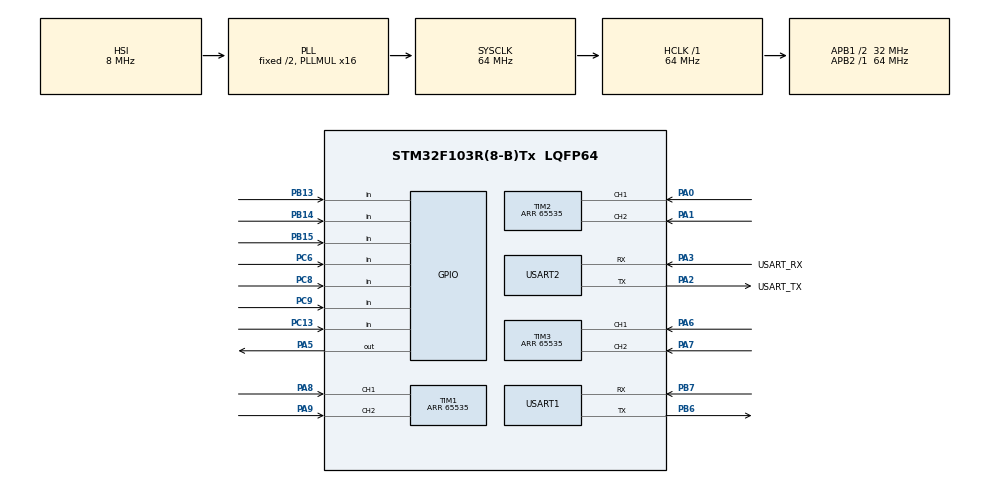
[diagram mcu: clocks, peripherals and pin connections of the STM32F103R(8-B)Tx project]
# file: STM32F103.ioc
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FREERTOS.Tasks01=defaultTask,0,128,StartDefaultTask,Default,NULL,Dynamic,NULL,NULL;send_data,3,128,Send_Data,Default,NULL,Dynamic,NULL,NULL
Mcu.Family=STM32F1
Mcu.Name=STM32F103R(8-B)Tx
Mcu.Package=LQFP64
NVIC.PriorityGroup=NVIC_PRIORITYGROUP_4
NVIC.TIM4_IRQn=true\:0\:0\:false\:false\:true\:false\:false
NVIC.TimeBase=TIM4_IRQn
NVIC.TimeBaseIP=TIM4
PA0-WKUP.GPIO_PuPd=GPIO_PULLUP
PA0-WKUP.Signal=S_TIM2_CH1_ETR
PA1.GPIO_PuPd=GPIO_PULLUP
PA1.Signal=S_TIM2_CH2
PA13.GPIO_Label=TMS
PA13.Mode=Serial_Wire
PA13.Signal=SYS_JTMS-SWDIO
PA14.GPIO_Label=TCK
PA14.Mode=Serial_Wire
PA14.Signal=SYS_JTCK-SWCLK
PA2.GPIO_Label=USART_TX
PA2.GPIO_Mode=GPIO_MODE_AF_PP
PA2.GPIO_PuPd=GPIO_NOPULL
PA2.GPIO_Speed=GPIO_SPEED_FREQ_LOW
PA2.Mode=Asynchronous
PA2.Signal=USART2_TX
PA3.GPIO_Label=USART_RX
PA3.GPIO_Mode=GPIO_MODE_AF_PP
PA3.GPIO_PuPd=GPIO_NOPULL
PA3.GPIO_Speed=GPIO_SPEED_FREQ_LOW
PA3.Mode=Asynchronous
PA3.Signal=USART2_RX
PA5.Signal=GPIO_Output
PA6.GPIO_PuPd=GPIO_PULLUP
PA6.Signal=S_TIM3_CH1
PA7.GPIO_PuPd=GPIO_PULLUP
PA7.Signal=S_TIM3_CH2
PA8.GPIO_PuPd=GPIO_PULLUP
PA8.Signal=S_TIM1_CH1
PA9.GPIO_PuPd=GPIO_PULLUP
PA9.Signal=S_TIM1_CH2
PB13.GPIO_PuPd=GPIO_PULLUP
PB13.Signal=GPIO_Input
PB14.GPIO_PuPd=GPIO_PULLUP
PB14.Signal=GPIO_Input
PB15.GPIO_PuPd=GPIO_PULLUP
PB15.Signal=GPIO_Input
PB3.GPIO_Label=SWO
PB3.Signal=SYS_JTDO-TRACESWO
PB6.Mode=Asynchronous
PB6.Signal=USART1_TX
PB7.Mode=Asynchronous
PB7.Signal=USART1_RX
PC13-TAMPER-RTC.Signal=GPIO_Input
PC14-OSC32_IN.Mode=LSE-External-Oscillator
PC14-OSC32_IN.Signal=RCC_OSC32_IN
PC15-OSC32_OUT.Mode=LSE-External-Oscillator
PC15-OSC32_OUT.Signal=RCC_OSC32_OUT
PC6.GPIO_PuPd=GPIO_PULLUP
PC6.Signal=GPIO_Input
PC8.GPIO_PuPd=GPIO_PULLUP
PC8.Signal=GPIO_Input
PC9.GPIO_PuPd=GPIO_PULLUP
PC9.Signal=GPIO_Input
PD0-OSC_IN.Mode=HSE-External-Clock-Source
PD0-OSC_IN.Signal=RCC_OSC_IN
PD1-OSC_OUT.Mode=HSE-External-Clock-Source
PD1-OSC_OUT.Signal=RCC_OSC_OUT
ProjectManager.HeapSize=0x200
ProjectManager.StackSize=0x400
ProjectManager.TargetToolchain=SW4STM32
RCC.AHBFreq_Value=64000000
RCC.APB1CLKDivider=RCC_HCLK_DIV2
RCC.APB1Freq_Value=32000000
RCC.APB1TimFreq_Value=64000000
RCC.APB2Freq_Value=64000000
RCC.APB2TimFreq_Value=64000000
RCC.HCLKFreq_Value=64000000
RCC.PLLMUL=RCC_PLL_MUL16
RCC.RTCClockSelection=RCC_RTCCLKSOURCE_LSE
RCC.SYSCLKFreq_VALUE=64000000
RCC.SYSCLKSource=RCC_SYSCLKSOURCE_PLLCLK
RCC.USBFreq_Value=64000000
SH.S_TIM1_CH1.0=TIM1_CH1,Encoder_Interface
SH.S_TIM1_CH2.0=TIM1_CH2,Encoder_Interface
SH.S_TIM2_CH1_ETR.0=TIM2_CH1,Encoder_Interface
SH.S_TIM2_CH2.0=TIM2_CH2,Encoder_Interface
SH.S_TIM3_CH1.0=TIM3_CH1,Encoder_Interface
SH.S_TIM3_CH2.0=TIM3_CH2,Encoder_Interface
TIM1.EncoderMode=TIM_ENCODERMODE_TI12
TIM1.IC1Filter=0
TIM1.IC2Filter=0
TIM1.Period=65535
TIM2.EncoderMode=TIM_ENCODERMODE_TI12
TIM2.Period=65535
TIM3.EncoderMode=TIM_ENCODERMODE_TI12
TIM3.Period=65535
USART1.VirtualMode=VM_ASYNC
USART2.VirtualMode=VM_ASYNC
VP_FREERTOS_VS_ENABLE.Mode=Enabled
VP_SYS_VS_tim4.Mode=TIM4
board=NUCLEO-F103RB

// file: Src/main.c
/**
  ******************************************************************************
  * @file           : main.c
  * @brief          : Main program body
  ******************************************************************************
  * This notice applies to any and all portions of this file
  * that are not between comment pairs USER CODE BEGIN and
  * USER CODE END. Other portions of this file, whether
  * inserted by the user or by software development tools
  * are owned by their respective copyright owners.
  *
  * Copyright (c) 2018 STMicroelectronics International N.V.
  * All rights reserved.
  *
  * Redistribution and use in source and binary forms, with or without
  * modification, are permitted, provided that the following conditions are met:
  *
  * 1. Redistribution of source code must retain the above copyright notice,
  *    this list of conditions and the following disclaimer.
  * 2. Redistributions in binary form must reproduce the above copyright notice,
  *    this list of conditions and the following disclaimer in the documentation
  *    and/or other materials provided with the distribution.
  * 3. Neither the name of STMicroelectronics nor the names of other
  *    contributors to this software may be used to endorse or promote products
  *    derived from this software without specific written permission.
  * 4. This software, including modifications and/or derivative works of this
  *    software, must execute solely and exclusively on microcontroller or
  *    microprocessor devices manufactured by or for STMicroelectronics.
  * 5. Redistribution and use of this software other than as permitted under
  *    this license is void and will automatically terminate your rights under
  *    this license.
  *
  * THIS SOFTWARE IS PROVIDED BY STMICROELECTRONICS AND CONTRIBUTORS "AS IS"
  * AND ANY EXPRESS, IMPLIED OR STATUTORY WARRANTIES, INCLUDING, BUT NOT
  * LIMITED TO, THE IMPLIED WARRANTIES OF MERCHANTABILITY, FITNESS FOR A
  * PARTICULAR PURPOSE AND NON-INFRINGEMENT OF THIRD PARTY INTELLECTUAL PROPERTY
  * RIGHTS ARE DISCLAIMED TO THE FULLEST EXTENT PERMITTED BY LAW. IN NO EVENT
  * SHALL STMICROELECTRONICS OR CONTRIBUTORS BE LIABLE FOR ANY DIRECT, INDIRECT,
  * INCIDENTAL, SPECIAL, EXEMPLARY, OR CONSEQUENTIAL DAMAGES (INCLUDING, BUT NOT
  * LIMITED TO, PROCUREMENT OF SUBSTITUTE GOODS OR SERVICES; LOSS OF USE, DATA,
  * OR PROFITS; OR BUSINESS INTERRUPTION) HOWEVER CAUSED AND ON ANY THEORY OF
  * LIABILITY, WHETHER IN CONTRACT, STRICT LIABILITY, OR TORT (INCLUDING
  * NEGLIGENCE OR OTHERWISE) ARISING IN ANY WAY OUT OF THE USE OF THIS SOFTWARE,
  * EVEN IF ADVISED OF THE POSSIBILITY OF SUCH DAMAGE.
  *
  ******************************************************************************
  */
#include "main.h"
#include "stm32f1xx_hal.h"
#include "cmsis_os.h"
#include "tim.h"
#include "usart.h"
#include "gpio.h"

/* USER CODE BEGIN Includes */
#include <string.h>
/* USER CODE END Includes */

/* USER CODE BEGIN PV */
/* Private variables ---------------------------------------------------------*/

/* USER CODE END PV */

void SystemClock_Config(void);
void MX_FREERTOS_Init(void);

/* USER CODE BEGIN PFP */
/* Private function prototypes -----------------------------------------------*/

/* USER CODE END PFP */

int main(void)
{

  /* MCU Configuration----------------------------------------------------------*/

  /* Reset of all peripherals, Initializes the Flash interface and the Systick. */
  HAL_Init();

  /* Configure the system clock */
  SystemClock_Config();

  /* Initialize all configured peripherals */
  MX_GPIO_Init();
  MX_USART2_UART_Init();
  MX_TIM1_Init();
  MX_TIM2_Init();
  MX_TIM3_Init();
  MX_USART1_UART_Init();
  /* USER CODE BEGIN 2 */
  HAL_TIM_Encoder_Start(&htim1,TIM_CHANNEL_ALL);
  /* USER CODE END 2 */

  /* Call init function for freertos objects (in freertos.c) */
  MX_FREERTOS_Init();

  /* Start scheduler */
  osKernelStart();

  /* We should never get here as control is now taken by the scheduler */

  /* Infinite loop */
  while (1)
  {

  }

}

void SystemClock_Config(void)
{

  RCC_OscInitTypeDef RCC_OscInitStruct;
  RCC_ClkInitTypeDef RCC_ClkInitStruct;

    /**Initializes the CPU, AHB and APB busses clocks
    */
  RCC_OscInitStruct.OscillatorType = RCC_OSCILLATORTYPE_HSI;
  RCC_OscInitStruct.HSIState = RCC_HSI_ON;
  RCC_OscInitStruct.HSICalibrationValue = 16;
  RCC_OscInitStruct.PLL.PLLState = RCC_PLL_ON;
  RCC_OscInitStruct.PLL.PLLSource = RCC_PLLSOURCE_HSI_DIV2;
  RCC_OscInitStruct.PLL.PLLMUL = RCC_PLL_MUL16;
  if (HAL_RCC_OscConfig(&RCC_OscInitStruct) != HAL_OK)
  {
    _Error_Handler(__FILE__, __LINE__);
  }

    /**Initializes the CPU, AHB and APB busses clocks
    */
  RCC_ClkInitStruct.ClockType = RCC_CLOCKTYPE_HCLK|RCC_CLOCKTYPE_SYSCLK
                              |RCC_CLOCKTYPE_PCLK1|RCC_CLOCKTYPE_PCLK2;
  RCC_ClkInitStruct.SYSCLKSource = RCC_SYSCLKSOURCE_PLLCLK;
  RCC_ClkInitStruct.AHBCLKDivider = RCC_SYSCLK_DIV1;
  RCC_ClkInitStruct.APB1CLKDivider = RCC_HCLK_DIV2;
  RCC_ClkInitStruct.APB2CLKDivider = RCC_HCLK_DIV1;

  if (HAL_RCC_ClockConfig(&RCC_ClkInitStruct, FLASH_LATENCY_2) != HAL_OK)
  {
    _Error_Handler(__FILE__, __LINE__);
  }

    /**Configure the Systick interrupt time
    */
  HAL_SYSTICK_Config(HAL_RCC_GetHCLKFreq()/1000);

    /**Configure the Systick
    */
  HAL_SYSTICK_CLKSourceConfig(SYSTICK_CLKSOURCE_HCLK);

  /* SysTick_IRQn interrupt configuration */
  HAL_NVIC_SetPriority(SysTick_IRQn, 15, 0);
}

void HAL_TIM_PeriodElapsedCallback(TIM_HandleTypeDef *htim)
{
  if (htim->Instance == TIM4) {
    HAL_IncTick();
  }
}

void _Error_Handler(char *file, int line)
{
  while(1)
  {
  }
}

/************************ (C) COPYRIGHT STMicroelectronics *****END OF FILE****/

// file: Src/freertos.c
/**
  ******************************************************************************
  * File Name          : freertos.c
  * Description        : Code for freertos applications
  ******************************************************************************
  * This notice applies to any and all portions of this file
  * that are not between comment pairs USER CODE BEGIN and
  * USER CODE END. Other portions of this file, whether
  * inserted by the user or by software development tools
  * are owned by their respective copyright owners.
  *
  * Copyright (c) 2018 STMicroelectronics International N.V.
  * All rights reserved.
  *
  * Redistribution and use in source and binary forms, with or without
  * modification, are permitted, provided that the following conditions are met:
  *
  * 1. Redistribution of source code must retain the above copyright notice,
  *    this list of conditions and the following disclaimer.
  * 2. Redistributions in binary form must reproduce the above copyright notice,
  *    this list of conditions and the following disclaimer in the documentation
  *    and/or other materials provided with the distribution.
  * 3. Neither the name of STMicroelectronics nor the names of other
  *    contributors to this software may be used to endorse or promote products
  *    derived from this software without specific written permission.
  * 4. This software, including modifications and/or derivative works of this
  *    software, must execute solely and exclusively on microcontroller or
  *    microprocessor devices manufactured by or for STMicroelectronics.
  * 5. Redistribution and use of this software other than as permitted under
  *    this license is void and will automatically terminate your rights under
  *    this license.
  *
  * THIS SOFTWARE IS PROVIDED BY STMICROELECTRONICS AND CONTRIBUTORS "AS IS"
  * AND ANY EXPRESS, IMPLIED OR STATUTORY WARRANTIES, INCLUDING, BUT NOT
  * LIMITED TO, THE IMPLIED WARRANTIES OF MERCHANTABILITY, FITNESS FOR A
  * PARTICULAR PURPOSE AND NON-INFRINGEMENT OF THIRD PARTY INTELLECTUAL PROPERTY
  * RIGHTS ARE DISCLAIMED TO THE FULLEST EXTENT PERMITTED BY LAW. IN NO EVENT
  * SHALL STMICROELECTRONICS OR CONTRIBUTORS BE LIABLE FOR ANY DIRECT, INDIRECT,
  * INCIDENTAL, SPECIAL, EXEMPLARY, OR CONSEQUENTIAL DAMAGES (INCLUDING, BUT NOT
  * LIMITED TO, PROCUREMENT OF SUBSTITUTE GOODS OR SERVICES; LOSS OF USE, DATA,
  * OR PROFITS; OR BUSINESS INTERRUPTION) HOWEVER CAUSED AND ON ANY THEORY OF
  * LIABILITY, WHETHER IN CONTRACT, STRICT LIABILITY, OR TORT (INCLUDING
  * NEGLIGENCE OR OTHERWISE) ARISING IN ANY WAY OUT OF THE USE OF THIS SOFTWARE,
  * EVEN IF ADVISED OF THE POSSIBILITY OF SUCH DAMAGE.
  *
  ******************************************************************************
  */

#include "FreeRTOS.h"
#include "task.h"
#include "cmsis_os.h"

/* USER CODE BEGIN Includes */
#include "stm32f1xx_hal.h"
#include "tim.h"
#include "usart.h"
#include "gpio.h"
/* USER CODE END Includes */

osThreadId defaultTaskHandle;
osThreadId send_dataHandle;

/* USER CODE BEGIN Variables */

char Buffer_counter[14];
char Buffer_limitswitch[11];
uint8_t limitswitch[6];
uint8_t CURRENT_status[6];
uint32_t count[3];

/* USER CODE END Variables */

void StartDefaultTask(void const * argument);
void Send_Data(void const * argument);

void MX_FREERTOS_Init(void); /* (MISRA C 2004 rule 8.1) */

/* USER CODE BEGIN FunctionPrototypes */
void getPinStatus(GPIO_TypeDef*, uint16_t, uint8_t*, uint8_t*);
/* USER CODE END FunctionPrototypes */

/* Hook prototypes */

/* Init FreeRTOS */

void MX_FREERTOS_Init(void) {

  /* Create the thread(s) */
  /* definition and creation of defaultTask */
  osThreadDef(defaultTask, StartDefaultTask, osPriorityNormal, 0, 128);
  defaultTaskHandle = osThreadCreate(osThread(defaultTask), NULL);

  /* definition and creation of send_data */
  osThreadDef(send_data, Send_Data, osPriorityRealtime, 0, 128);
  send_dataHandle = osThreadCreate(osThread(send_data), NULL);

}

/* StartDefaultTask function */
void StartDefaultTask(void const * argument)
{

  for(;;)
  {
    osDelay(1);
  }
}

/* Send_Data function */
void Send_Data(void const * argument)
{
  /* USER CODE BEGIN Send_Data */
  /* Infinite loop */
  for(;;)
  {
	  count[0] = TIM1->CNT;
	  count[1] = TIM2->CNT;
	  count[2] = TIM3->CNT;

	  getPinStatus(GPIOC,GPIO_PIN_6,&CURRENT_status[0],&limitswitch[0]);
	  getPinStatus(GPIOB,GPIO_PIN_13,&CURRENT_status[1],&limitswitch[1]);
	  getPinStatus(GPIOC,GPIO_PIN_8,&CURRENT_status[2],&limitswitch[2]);
	  getPinStatus(GPIOC,GPIO_PIN_9,&CURRENT_status[3],&limitswitch[3]);
	  getPinStatus(GPIOB,GPIO_PIN_14,&CURRENT_status[4],&limitswitch[4]);
	  getPinStatus(GPIOB,GPIO_PIN_15,&CURRENT_status[5],&limitswitch[5]);

	  for (int var = 0; var <= 2; ++var) {
			  HAL_UART_Transmit(&huart1, (uint8_t*)Buffer_counter, sprintf(Buffer_counter, "C  %d)\t %04lu \r\n",var+1, count[var]), 0xFFFF);
	  }

	  for (int var = 0; var <= 5; ++var) {
		  HAL_UART_Transmit(&huart1, (uint8_t*)Buffer_limitswitch, sprintf(Buffer_limitswitch, "LS %d)\t %d \r\n", var+1, limitswitch[var]), 0xFFFF);
	  }

  }
  /* USER CODE END Send_Data */
}

/* USER CODE BEGIN Application */

void getPinStatus(GPIO_TypeDef *GPIOx, uint16_t Pin, uint8_t* CURRENT_status, uint8_t* status ){

	if((uint8_t*)HAL_GPIO_ReadPin(GPIOx,Pin) != CURRENT_status)
			  {  CURRENT_status = (uint8_t*)HAL_GPIO_ReadPin(GPIOx,Pin);

			  	  *status = 0;

			  if(!HAL_GPIO_ReadPin(GPIOx,Pin)){

				  //HAL_GPIO_WritePin(GPIOA,GPIO_PIN_5,GPIO_PIN_RESET);
				  *status = 1;

			  }
			  }

}

/* USER CODE END Application */

/************************ (C) COPYRIGHT STMicroelectronics *****END OF FILE****/
